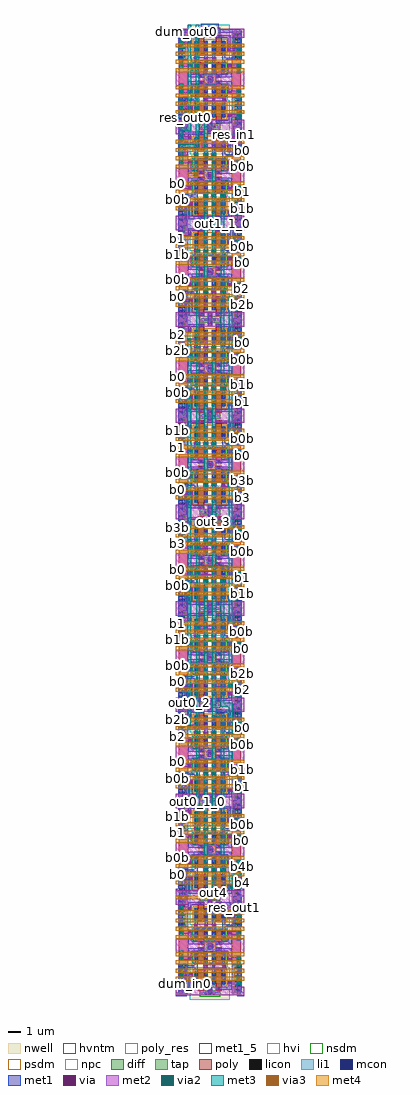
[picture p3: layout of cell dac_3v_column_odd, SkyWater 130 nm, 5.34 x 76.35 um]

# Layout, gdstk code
from math import pi, radians
import gdstk
lib = gdstk.Library(unit=1e-6, precision=1e-09)
def R(c, l, rs):  # rectangles x0, y0, x1, y1
    for r in rs: c.add(gdstk.rectangle(r[:2], r[2:], *l))
def A(c, l, x, y, w, h, nx, ny, dx, dy):  # array of equal rectangles
    R(c, l, [(x+i*dx, y+j*dy, x+i*dx+w, y+j*dy+h) for i in range(nx) for j in range(ny)])
nwell = (64, 20)
diff = (65, 20)
tap = (65, 44)
poly_res = (66, 13)
poly = (66, 20)
licon = (66, 44)
li1 = (67, 20)
mcon = (67, 44)
met1_5 = (68, 5)
met1 = (68, 20)
via = (68, 44)
met2 = (69, 20)
via2 = (69, 44)
met3 = (70, 20)
via3 = (70, 44)
met4 = (71, 20)
hvi = (75, 20)
nsdm = (93, 44)
psdm = (94, 20)
npc = (95, 20)
hvntm = (125, 20)

m3m4contact = lib.new_cell('m3m4contact')
R(m3m4contact, met3, [(-0.845,37.29,-0.525,37.67), (-0.835,37.67,-0.535,38.065)])
R(m3m4contact, via3, [(-0.785,37.38,-0.585,37.58)])
R(m3m4contact, met4, [(-0.85,37.315,-0.52,37.33), (-1.29,37.33,-0.52,37.63), (-0.85,37.63,-0.52,37.645)])

sky130_fd_pr__pfet_g5v0d = lib.new_cell('sky130_fd_pr__pfet_g5v0d10v5_9992MR')
R(sky130_fd_pr__pfet_g5v0d, nwell, [(-0.72,-0.99,0.72,0.82)])
R(sky130_fd_pr__pfet_g5v0d, diff, [(-0.54,-0.68,0.54,0.32)])
R(sky130_fd_pr__pfet_g5v0d, poly, [(-0.25,-0.81,0.25,0.805)])
A(sky130_fd_pr__pfet_g5v0d, licon, -0.48, -0.605, 0.17, 0.17, 1, 3, 0, 0.34)
A(sky130_fd_pr__pfet_g5v0d, licon, 0.31, -0.605, 0.17, 0.17, 1, 3, 0, 0.34)
R(sky130_fd_pr__pfet_g5v0d, licon, [(-0.085,0.555,0.085,0.725)])
R(sky130_fd_pr__pfet_g5v0d, li1, [(-0.48,-0.7,-0.31,0.34), (0.31,-0.7,0.48,0.34), (-0.25,0.555,0.25,0.725)])
R(sky130_fd_pr__pfet_g5v0d, mcon, [(-0.48,-0.445,-0.31,-0.275), (0.31,-0.445,0.48,-0.275), (-0.48,-0.085,-0.31,0.085), (0.31,-0.085,0.48,0.085), (-0.085,0.555,0.085,0.725)])
R(sky130_fd_pr__pfet_g5v0d, met1, [(-0.51,-0.68,-0.28,0.32), (0.28,-0.68,0.51,0.32), (-0.23,0.525,0.23,0.755)])
R(sky130_fd_pr__pfet_g5v0d, hvi, [(-0.72,-0.99,0.72,-0.865), (-0.725,-0.865,0.725,0.505), (-0.72,0.505,0.72,0.82)])
R(sky130_fd_pr__pfet_g5v0d, psdm, [(-0.665,-0.805,0.665,0.445)])
R(sky130_fd_pr__pfet_g5v0d, npc, [(-0.185,0.455,0.185,0.825)])

sky130_fd_pr__nfet_g5v0d = lib.new_cell('sky130_fd_pr__nfet_g5v0d10v5_NHLDUY')
R(sky130_fd_pr__nfet_g5v0d, diff, [(-0.54,-0.17,0.54,0.48)])
R(sky130_fd_pr__nfet_g5v0d, poly, [(-0.25,-0.61,0.25,0.61)])
R(sky130_fd_pr__nfet_g5v0d, licon, [(-0.085,-0.53,0.085,-0.36), (-0.48,-0.1,-0.31,0.07), (0.31,-0.1,0.48,0.07), (-0.48,0.24,-0.31,0.41), (0.31,0.24,0.48,0.41)])
R(sky130_fd_pr__nfet_g5v0d, li1, [(-0.25,-0.53,0.25,-0.36), (-0.48,-0.19,-0.31,0.5), (0.31,-0.19,0.48,0.5)])
R(sky130_fd_pr__nfet_g5v0d, mcon, [(-0.085,-0.53,0.085,-0.36), (-0.48,-0.11,-0.31,0.06), (0.31,-0.11,0.48,0.06), (-0.48,0.25,-0.31,0.42), (0.31,0.25,0.48,0.42)])
R(sky130_fd_pr__nfet_g5v0d, met1, [(-0.23,-0.56,0.23,-0.33), (-0.51,-0.17,-0.28,0.48), (0.28,-0.17,0.51,0.48)])
R(sky130_fd_pr__nfet_g5v0d, hvi, [(-0.725,-0.355,0.725,0.665)])
R(sky130_fd_pr__nfet_g5v0d, nsdm, [(-0.665,-0.295,0.665,0.605)])
R(sky130_fd_pr__nfet_g5v0d, npc, [(-0.185,-0.63,0.185,-0.26)])
R(sky130_fd_pr__nfet_g5v0d, hvntm, [(-0.725,-0.355,0.725,0.665)])

poly_res_200ohm = lib.new_cell('poly_res_200ohm')
R(poly_res_200ohm, poly_res, [(-2.07,1.91,-1.36,4.87)])
R(poly_res_200ohm, poly, [(-2.07,-0.38,-1.36,7.155)])
A(poly_res_200ohm, licon, -1.8, -0.135, 0.17, 0.17, 1, 6, 0, 0.34)
A(poly_res_200ohm, licon, -1.8, 5.045, 0.17, 0.17, 1, 6, 0, 0.34)
R(poly_res_200ohm, li1, [(-2.07,-0.38,-1.36,1.91), (-2.07,4.87,-1.36,7.155)])
A(poly_res_200ohm, mcon, -2.035, -0.185, 0.17, 0.17, 1, 6, 0, 0.36)
A(poly_res_200ohm, mcon, -2.035, 4.995, 0.17, 0.17, 1, 6, 0, 0.36)
R(poly_res_200ohm, met1, [(-2.125,-0.38,-1.77,1.91), (-2.125,4.87,-1.77,7.155)])
R(poly_res_200ohm, npc, [(-1.9,-0.235,-1.53,1.835), (-1.9,4.945,-1.53,7.015)])

dac_3v_cell_odd = lib.new_cell('dac_3v_cell_odd')
R(dac_3v_cell_odd, nwell, [(1.59,-1.375,4.71,1.14), (1.58,4.46,4.71,5.3), (1.59,5.3,4.71,7.05)])
R(dac_3v_cell_odd, tap, [(2.48,-1.045,3.835,-0.815), (2.865,2.625,3.435,2.975), (2.48,6.49,3.835,6.72)])
A(dac_3v_cell_odd, licon, 2.73, -1.015, 0.17, 0.17, 3, 2, 0.34, 7.535)
R(dac_3v_cell_odd, licon, [(3.07,2.715,3.24,2.885)])
R(dac_3v_cell_odd, li1, [(2.48,-1.045,3.835,-0.815), (3.065,-0.815,3.26,-0.425), (2.995,2.57,3.32,3.03), (3.065,6.11,3.26,6.49), (2.48,6.49,3.835,6.72)])
R(dac_3v_cell_odd, mcon, [(3.075,-0.715,3.245,-0.545), (3.07,2.715,3.24,2.885), (3.075,6.22,3.245,6.39)])
R(dac_3v_cell_odd, met1, [(0.775,-1.115,1.34,-0.84), (3,-0.925,3.325,-0.36), (1.17,-0.84,1.34,1.12), (1.5,-0.625,2.23,-0.395), (4.07,-0.625,4.85,-0.395), (1.5,-0.395,1.76,0.74), (4.59,-0.395,4.85,0.11), (1.95,0.81,2.18,1.12), (2.74,0.81,2.97,1.06), (3.33,0.81,3.56,1.06), (4.12,0.81,4.35,1.06), (2.725,1.06,2.985,1.38), (3.315,1.06,3.575,1.38), (4.105,1.06,4.365,1.38), (1.17,1.12,2.18,1.29), (1.95,1.29,2.18,1.605), (2.74,1.38,2.97,1.605), (3.33,1.38,3.56,1.605), (4.12,1.38,4.35,1.605), (4.59,1.625,4.85,2.415), (1.45,1.72,1.71,2.415), (1.45,2.415,2.23,2.645), (4.07,2.415,4.85,2.645), (3.02,2.53,3.295,2.59), (2.965,2.59,3.355,3.01), (1.45,2.955,2.23,3.185), (4.07,2.955,4.85,3.185), (3.02,3.01,3.295,3.075), (1.45,3.185,1.71,4.065), (4.59,3.185,4.85,3.975), (1.95,3.995,2.18,4.235), (2.74,3.995,2.97,4.235), (3.33,3.995,3.56,4.235), (4.12,3.995,4.35,4.31), (1.935,4.235,2.195,4.555), (2.725,4.235,2.985,4.555), (3.315,4.235,3.575,4.555), (4.12,4.31,5.13,4.48), (4.12,4.48,4.35,4.79), (4.96,4.48,5.13,6.42), (1.95,4.555,2.18,4.79), (2.74,4.555,2.97,4.79), (3.33,4.555,3.56,4.79), (4.54,4.92,4.8,5.995), (1.45,5.57,1.71,5.995), (1.45,5.995,2.23,6.225), (4.07,5.995,4.8,6.225), (3,6.045,3.325,6.61), (4.96,6.42,5.525,6.695)])
R(dac_3v_cell_odd, via, [(3.085,-0.7,3.235,-0.55), (4.645,-0.125,4.795,0.025), (1.555,0.505,1.705,0.655), (2.78,1.145,2.93,1.295), (3.37,1.145,3.52,1.295), (4.16,1.145,4.31,1.295), (4.645,1.71,4.795,1.86), (1.505,1.805,1.655,1.955), (3.08,2.725,3.23,2.875), (4.645,3.74,4.795,3.89), (1.505,3.83,1.655,3.98), (1.99,4.32,2.14,4.47), (2.78,4.32,2.93,4.47), (3.37,4.32,3.52,4.47), (4.595,5.025,4.745,5.175), (1.505,5.675,1.655,5.825), (3.085,6.23,3.235,6.38)])
R(dac_3v_cell_odd, met2, [(0.495,-1.05,5.83,-0.36), (4.535,-0.195,4.955,0.085), (5.22,-0.19,5.59,0.09), (5.28,0.09,5.525,0.775), (0.715,0.44,1.085,0.45), (0.715,0.45,1.79,0.71), (0.715,0.71,1.085,0.72), (4.605,0.775,5.525,1.02), (4.605,1.02,4.85,1.655), (2.645,1.08,3.04,1.36), (4.05,1.08,4.415,1.36), (3.26,1.085,3.655,1.365), (5.215,1.645,5.585,1.655), (4.56,1.655,4.925,1.915), (5.17,1.655,5.585,1.915), (0.715,1.74,1.085,1.75), (0.715,1.75,1.74,2.01), (5.215,1.915,5.585,1.925), (0.715,2.01,1.085,2.02), (0.495,2.265,5.83,3.39), (5.215,3.675,5.585,3.685), (4.56,3.685,5.585,3.945), (0.715,3.765,1.085,3.775), (0.715,3.775,1.74,4.035), (5.215,3.945,5.585,3.955), (0.715,4.035,1.085,4.045), (1.88,4.255,2.25,4.535), (2.645,4.255,3.04,4.535), (3.26,4.255,3.645,4.535), (5.215,4.96,5.585,4.97), (4.51,4.97,5.585,5.23), (5.215,5.23,5.585,5.24), (0.72,5.61,1.09,5.62), (0.72,5.62,1.74,5.88), (0.72,5.88,1.09,5.89), (0.495,6.05,5.83,6.735)])
R(dac_3v_cell_odd, via2, [(4.67,-0.155,4.87,0.045), (5.305,-0.15,5.505,0.05), (0.8,0.48,1,0.68), (5.3,1.685,5.5,1.885), (0.8,1.78,1,1.98), (5.3,3.715,5.5,3.915), (0.8,3.805,1,4.005), (5.3,5,5.5,5.2), (0.805,5.65,1.005,5.85)])
R(dac_3v_cell_odd, met3, [(4.605,-0.245,4.935,0.125), (5.24,-0.24,5.57,0.51), (4.615,0.125,4.925,0.825), (0.735,0.39,1.065,1.14), (4.615,0.825,5.565,1.135), (5.235,1.135,5.565,1.965), (0.735,1.69,1.065,2.44), (5.235,3.255,5.565,4.005), (0.735,3.655,1.065,4.41), (5.235,4.54,5.565,5.29), (0.74,5.19,1.07,5.94)])
R(dac_3v_cell_odd, via3, [(5.305,0.15,5.505,0.35), (0.8,0.78,1,0.98), (5.3,1.43,5.5,1.63), (0.8,2.075,1,2.275), (5.3,3.41,5.5,3.61), (0.8,4.055,1,4.255), (5.3,4.7,5.5,4.9), (0.805,5.345,1.005,5.545)])
A(dac_3v_cell_odd, met4, 0.495, 0.09, 5.335, 0.3, 1, 4, 0, 0.645)
A(dac_3v_cell_odd, met4, 0.495, 3.36, 5.335, 0.3, 1, 4, 0, 0.645)
R(dac_3v_cell_odd, met4, [(5.24,0.085,5.57,0.09), (5.24,0.39,5.57,0.415), (0.735,0.715,1.065,0.735), (0.735,1.035,1.065,1.045), (5.235,1.365,5.565,1.38), (5.235,1.68,5.565,1.695), (0.735,2.01,1.065,2.025), (0.735,2.325,1.065,2.34), (5.235,3.345,5.565,3.36), (5.235,3.66,5.565,3.675), (0.735,3.99,1.065,4.005), (0.735,4.305,1.065,4.32), (5.235,4.635,5.565,4.65), (5.235,4.95,5.565,4.965), (0.74,5.28,1.07,5.295), (0.74,5.595,1.07,5.61)])
R(dac_3v_cell_odd, hvi, [(1.59,-1.375,4.71,1.14), (1.735,1.14,4.565,1.42), (2.68,2.38,3.62,3.22), (1.735,4.18,4.565,4.46), (1.165,4.46,4.71,5.3), (1.59,5.3,4.71,7.05)])
R(dac_3v_cell_odd, nsdm, [(2.355,-1.17,3.96,-0.69), (3.125,1.48,3.175,2.38), (3.125,3.22,3.175,4.12), (2.355,6.365,3.96,6.845)])
R(dac_3v_cell_odd, psdm, [(3.125,-0.315,3.175,0.935), (2.74,2.5,3.56,3.1), (3.125,4.665,3.175,5.915)])
R(dac_3v_cell_odd, npc, [(2.275,2.715,2.645,2.885), (3.655,2.715,4.025,2.885)])
dac_3v_cell_odd.add(gdstk.Reference(sky130_fd_pr__pfet_g5v0d, (2.46,0.13), x_reflection=True))
dac_3v_cell_odd.add(gdstk.Reference(sky130_fd_pr__pfet_g5v0d, (3.84,0.13), x_reflection=True))
dac_3v_cell_odd.add(gdstk.Reference(sky130_fd_pr__pfet_g5v0d, (3.84,5.47)))
dac_3v_cell_odd.add(gdstk.Reference(sky130_fd_pr__pfet_g5v0d, (2.46,5.47)))
dac_3v_cell_odd.add(gdstk.Reference(sky130_fd_pr__nfet_g5v0d, (3.84,2.085), x_reflection=True))
dac_3v_cell_odd.add(gdstk.Reference(sky130_fd_pr__nfet_g5v0d, (2.46,2.085), x_reflection=True))
dac_3v_cell_odd.add(gdstk.Reference(sky130_fd_pr__nfet_g5v0d, (3.84,3.515)))
dac_3v_cell_odd.add(gdstk.Reference(sky130_fd_pr__nfet_g5v0d, (2.46,3.515)))
dac_3v_cell_odd.add(gdstk.Reference(poly_res_200ohm, (2.8,-0.555)))
dac_3v_cell_odd.add(gdstk.Reference(poly_res_200ohm, (3.505,-0.56), rotation=pi, x_reflection=True))

dac_3v_cell = lib.new_cell('dac_3v_cell')
R(dac_3v_cell, nwell, [(1.59,-1.375,4.71,1.14), (1.58,4.46,4.71,7.05)])
R(dac_3v_cell, tap, [(2.48,-1.045,3.835,-0.815), (2.865,2.625,3.435,2.975), (2.48,6.49,3.835,6.72)])
A(dac_3v_cell, licon, 2.73, -1.015, 0.17, 0.17, 3, 2, 0.34, 7.535)
R(dac_3v_cell, licon, [(3.07,2.715,3.24,2.885)])
R(dac_3v_cell, li1, [(2.48,-1.045,3.835,-0.815), (3.065,-0.815,3.26,-0.425), (2.995,2.57,3.32,3.03), (3.065,6.11,3.26,6.49), (2.48,6.49,3.835,6.72)])
R(dac_3v_cell, mcon, [(3.075,-0.715,3.245,-0.545), (3.07,2.715,3.24,2.885), (3.075,6.22,3.245,6.39)])
R(dac_3v_cell, met1, [(0.775,-1.115,1.34,-0.84), (3,-0.925,3.325,-0.36), (1.17,-0.84,1.34,1.12), (1.5,-0.625,2.23,-0.395), (4.07,-0.625,4.85,-0.395), (1.5,-0.395,1.76,0.74), (4.59,-0.395,4.85,0.11), (1.95,0.81,2.18,1.12), (2.74,0.81,2.97,1.06), (3.33,0.81,3.56,1.06), (4.12,0.81,4.35,1.06), (2.725,1.06,2.985,1.38), (3.315,1.06,3.575,1.38), (4.105,1.06,4.365,1.38), (1.17,1.12,2.18,1.29), (1.95,1.29,2.18,1.605), (2.74,1.38,2.97,1.605), (3.33,1.38,3.56,1.605), (4.12,1.38,4.35,1.605), (4.59,1.625,4.85,2.415), (1.45,1.72,1.71,2.415), (1.45,2.415,2.23,2.645), (4.07,2.415,4.85,2.645), (3.02,2.53,3.295,2.59), (2.965,2.59,3.355,3.01), (1.45,2.955,2.23,3.185), (4.07,2.955,4.85,3.185), (3.02,3.01,3.295,3.075), (1.45,3.185,1.71,4.065), (4.59,3.185,4.85,3.975), (1.95,3.995,2.18,4.235), (2.74,3.995,2.97,4.235), (3.33,3.995,3.56,4.235), (4.12,3.995,4.35,4.31), (1.935,4.235,2.195,4.555), (2.725,4.235,2.985,4.555), (3.315,4.235,3.575,4.555), (4.12,4.31,5.13,4.48), (4.12,4.48,4.35,4.79), (4.96,4.48,5.13,6.42), (1.95,4.555,2.18,4.79), (2.74,4.555,2.97,4.79), (3.33,4.555,3.56,4.79), (4.54,4.92,4.8,5.995), (1.45,5.57,1.71,5.995), (1.45,5.995,2.23,6.225), (4.07,5.995,4.8,6.225), (3,6.045,3.325,6.61), (4.96,6.42,5.525,6.695)])
R(dac_3v_cell, via, [(3.085,-0.7,3.235,-0.55), (4.645,-0.125,4.795,0.025), (1.555,0.505,1.705,0.655), (2.78,1.145,2.93,1.295), (3.37,1.145,3.52,1.295), (4.16,1.145,4.31,1.295), (4.645,1.71,4.795,1.86), (1.505,1.805,1.655,1.955), (3.08,2.725,3.23,2.875), (4.645,3.74,4.795,3.89), (1.505,3.83,1.655,3.98), (1.99,4.32,2.14,4.47), (2.78,4.32,2.93,4.47), (3.37,4.32,3.52,4.47), (4.595,5.025,4.745,5.175), (1.505,5.675,1.655,5.825), (3.085,6.23,3.235,6.38)])
R(dac_3v_cell, met2, [(0.495,-1.05,5.83,-0.36), (5.22,-0.19,5.59,-0.18), (4.56,-0.18,5.59,0.08), (5.22,0.08,5.59,0.09), (0.715,0.44,1.085,0.45), (0.715,0.45,1.79,0.71), (0.715,0.71,1.085,0.72), (2.645,1.08,3.04,1.36), (4.05,1.08,4.415,1.36), (3.26,1.085,3.655,1.365), (5.215,1.645,5.585,1.655), (4.56,1.655,5.585,1.915), (0.715,1.74,1.085,1.75), (0.715,1.75,1.74,2.01), (5.215,1.915,5.585,1.925), (0.715,2.01,1.085,2.02), (0.495,2.265,5.83,3.39), (5.215,3.675,5.585,3.685), (4.56,3.685,5.585,3.945), (0.715,3.765,1.085,3.775), (0.715,3.775,1.74,4.035), (5.215,3.945,5.585,3.955), (0.715,4.035,1.085,4.045), (1.88,4.255,2.25,4.535), (2.645,4.255,3.04,4.535), (3.26,4.255,3.645,4.535), (5.215,4.96,5.585,4.97), (4.51,4.97,5.585,5.23), (5.215,5.23,5.585,5.24), (0.72,5.61,1.09,5.62), (0.72,5.62,1.74,5.88), (0.72,5.88,1.09,5.89), (0.495,6.05,5.83,6.735)])
R(dac_3v_cell, via2, [(5.305,-0.15,5.505,0.05), (0.8,0.48,1,0.68), (5.3,1.685,5.5,1.885), (0.8,1.78,1,1.98), (5.3,3.715,5.5,3.915), (0.8,3.805,1,4.005), (5.3,5,5.5,5.2), (0.805,5.65,1.005,5.85)])
R(dac_3v_cell, met3, [(5.24,-0.24,5.57,0.51), (0.735,0.39,1.065,1.14), (5.235,1.205,5.565,1.965), (0.735,1.69,1.065,2.44), (5.235,3.255,5.565,4.005), (0.735,3.655,1.065,4.41), (5.235,4.54,5.565,5.29), (0.74,5.19,1.07,5.94)])
R(dac_3v_cell, via3, [(5.305,0.15,5.505,0.35), (0.8,0.78,1,0.98), (5.3,1.43,5.5,1.63), (0.8,2.075,1,2.275), (5.3,3.41,5.5,3.61), (0.8,4.055,1,4.255), (5.3,4.7,5.5,4.9), (0.805,5.345,1.005,5.545)])
A(dac_3v_cell, met4, 0.495, 0.09, 5.335, 0.3, 1, 4, 0, 0.645)
A(dac_3v_cell, met4, 0.495, 3.36, 5.335, 0.3, 1, 4, 0, 0.645)
R(dac_3v_cell, met4, [(5.24,0.085,5.57,0.09), (5.24,0.39,5.57,0.415), (0.735,0.715,1.065,0.735), (0.735,1.035,1.065,1.045), (5.235,1.365,5.565,1.38), (5.235,1.68,5.565,1.695), (0.735,2.01,1.065,2.025), (0.735,2.325,1.065,2.34), (5.235,3.345,5.565,3.36), (5.235,3.66,5.565,3.675), (0.735,3.99,1.065,4.005), (0.735,4.305,1.065,4.32), (5.235,4.635,5.565,4.65), (5.235,4.95,5.565,4.965), (0.74,5.28,1.07,5.295), (0.74,5.595,1.07,5.61)])
R(dac_3v_cell, hvi, [(1.59,-1.375,4.71,1.14), (1.735,1.14,4.565,1.42), (2.68,2.38,3.62,3.22), (1.735,4.18,4.565,4.46), (1.58,4.46,4.71,7.05)])
R(dac_3v_cell, nsdm, [(2.355,-1.17,3.96,-0.69), (3.125,1.48,3.175,2.38), (3.125,3.22,3.175,4.12), (2.355,6.365,3.96,6.845)])
R(dac_3v_cell, psdm, [(3.125,-0.315,3.175,0.935), (2.74,2.5,3.56,3.1), (3.125,4.665,3.175,5.915)])
R(dac_3v_cell, npc, [(2.275,2.715,2.645,2.885), (3.655,2.715,4.025,2.885)])
dac_3v_cell.add(gdstk.Reference(poly_res_200ohm, (2.8,-0.555)))
dac_3v_cell.add(gdstk.Reference(sky130_fd_pr__nfet_g5v0d, (2.46,3.515)))
dac_3v_cell.add(gdstk.Reference(sky130_fd_pr__nfet_g5v0d, (2.46,2.085), x_reflection=True))
dac_3v_cell.add(gdstk.Reference(sky130_fd_pr__pfet_g5v0d, (2.46,5.47)))
dac_3v_cell.add(gdstk.Reference(sky130_fd_pr__pfet_g5v0d, (2.46,0.13), x_reflection=True))
dac_3v_cell.add(gdstk.Reference(sky130_fd_pr__nfet_g5v0d, (3.84,3.515)))
dac_3v_cell.add(gdstk.Reference(sky130_fd_pr__nfet_g5v0d, (3.84,2.085), x_reflection=True))
dac_3v_cell.add(gdstk.Reference(sky130_fd_pr__pfet_g5v0d, (3.84,5.47)))
dac_3v_cell.add(gdstk.Reference(sky130_fd_pr__pfet_g5v0d, (3.84,0.13), x_reflection=True))
dac_3v_cell.add(gdstk.Reference(poly_res_200ohm, (3.505,-0.56), rotation=pi, x_reflection=True))

m2m3contact = lib.new_cell('m2m3contact')
R(m2m3contact, met2, [(1.38,4.255,1.75,4.535)])
R(m2m3contact, via2, [(1.465,4.295,1.665,4.495)])
R(m2m3contact, met3, [(1.4,4.22,1.73,4.57), (1.415,4.57,1.715,4.985)])

dac_3v_cell_top = lib.new_cell('dac_3v_cell_top')
R(dac_3v_cell_top, nwell, [(1.59,-1.375,4.71,1.14), (1.59,4.46,4.71,6.16), (1.64,6.16,4.63,7.05)])
R(dac_3v_cell_top, tap, [(2.48,-1.045,3.835,-0.815), (2.865,2.625,3.435,2.975), (2.48,6.49,3.835,6.72)])
A(dac_3v_cell_top, licon, 2.73, -1.015, 0.17, 0.17, 3, 2, 0.34, 7.535)
R(dac_3v_cell_top, licon, [(3.07,2.715,3.24,2.885)])
R(dac_3v_cell_top, li1, [(2.48,-1.045,3.835,-0.815), (3.065,-0.815,3.26,-0.425), (2.995,2.57,3.32,3.03), (3.065,6.11,3.26,6.49), (2.48,6.49,3.835,6.72)])
R(dac_3v_cell_top, mcon, [(3.075,-0.715,3.245,-0.545), (3.07,2.715,3.24,2.885), (3.075,6.22,3.245,6.39)])
R(dac_3v_cell_top, met1, [(0.775,-1.115,1.34,-0.84), (3,-0.925,3.325,-0.36), (1.17,-0.84,1.34,1.12), (1.5,-0.625,2.23,-0.395), (4.07,-0.625,4.85,-0.395), (1.5,-0.395,1.76,0.74), (4.59,-0.395,4.85,0.11), (1.95,0.81,2.18,1.12), (2.74,0.81,2.97,1.06), (3.33,0.81,3.56,1.06), (4.12,0.81,4.35,1.06), (2.725,1.06,2.985,1.38), (3.315,1.06,3.575,1.38), (4.105,1.06,4.365,1.38), (1.17,1.12,2.18,1.29), (1.95,1.29,2.18,1.605), (2.74,1.38,2.97,1.605), (3.33,1.38,3.56,1.605), (4.12,1.38,4.35,1.605), (4.59,1.625,4.85,2.415), (1.45,1.72,1.71,2.415), (1.45,2.415,2.23,2.645), (4.07,2.415,4.85,2.645), (3.02,2.53,3.295,2.59), (2.965,2.59,3.355,3.01), (1.45,2.955,2.23,3.185), (4.07,2.955,4.85,3.185), (3.02,3.01,3.295,3.075), (1.45,3.185,1.71,4.065), (4.59,3.185,4.85,3.975), (1.95,3.995,2.18,4.235), (2.74,3.995,2.97,4.235), (3.33,3.995,3.56,4.235), (4.12,3.995,4.35,4.31), (1.935,4.235,2.195,4.555), (2.725,4.235,2.985,4.555), (3.315,4.235,3.575,4.555), (4.12,4.31,5.13,4.48), (0.77,4.385,1.03,5.175), (4.12,4.48,4.35,4.79), (4.96,4.48,5.13,6.42), (1.95,4.555,2.18,4.79), (2.74,4.555,2.97,4.79), (3.33,4.555,3.56,4.79), (4.54,4.62,4.8,5.995), (5.27,5.12,5.53,5.91), (1.45,5.57,1.71,5.995), (1.45,5.995,2.23,6.225), (4.07,5.995,4.8,6.225), (3,6.045,3.325,6.61), (4.96,6.42,5.525,6.695)])
R(dac_3v_cell_top, via, [(3.085,-0.7,3.235,-0.55), (4.645,-0.125,4.795,0.025), (1.555,0.505,1.705,0.655), (2.78,1.145,2.93,1.295), (3.37,1.145,3.52,1.295), (4.16,1.145,4.31,1.295), (4.645,1.71,4.795,1.86), (1.505,1.805,1.655,1.955), (3.08,2.725,3.23,2.875), (4.645,3.74,4.795,3.89), (1.505,3.83,1.655,3.98), (1.99,4.32,2.14,4.47), (2.78,4.32,2.93,4.47), (3.37,4.32,3.52,4.47), (0.825,4.545,0.975,4.695), (4.595,4.725,4.745,4.875), (0.825,4.865,0.975,5.015), (5.325,5.28,5.475,5.43), (5.325,5.6,5.475,5.75), (1.505,5.675,1.655,5.825), (3.085,6.23,3.235,6.38)])
R(dac_3v_cell_top, met2, [(0.495,-1.05,5.83,-0.36), (5.22,-0.19,5.59,-0.18), (4.56,-0.18,5.59,0.08), (5.22,0.08,5.59,0.09), (0.715,0.44,1.085,0.45), (0.715,0.45,1.79,0.71), (0.715,0.71,1.085,0.72), (2.645,1.08,3.04,1.36), (4.05,1.08,4.415,1.36), (3.26,1.085,3.655,1.365), (5.215,1.645,5.585,1.655), (4.56,1.655,5.585,1.915), (0.715,1.74,1.085,1.75), (0.715,1.75,1.74,2.01), (5.215,1.915,5.585,1.925), (0.715,2.01,1.085,2.02), (0.495,2.265,5.83,3.39), (5.215,3.675,5.585,3.685), (4.56,3.685,5.585,3.945), (0.715,3.765,1.085,3.775), (0.715,3.775,1.74,4.035), (5.215,3.945,5.585,3.955), (0.715,4.035,1.085,4.045), (1.88,4.255,2.25,4.535), (2.645,4.255,3.04,4.535), (3.26,4.255,3.645,4.535), (0.77,4.385,1.41,4.86), (5.215,4.66,5.585,4.67), (4.51,4.67,5.585,4.93), (0.77,4.86,2.475,4.98), (5.215,4.93,5.585,4.94), (0.77,4.98,4.275,5.12), (0.77,5.12,5.53,5.44), (2.025,5.44,5.53,5.58), (3.825,5.58,5.53,5.7), (0.72,5.61,1.09,5.62), (0.72,5.62,1.74,5.88), (4.89,5.7,5.53,5.91), (0.72,5.88,1.09,5.89), (0.495,6.05,5.83,6.735)])
R(dac_3v_cell_top, via2, [(5.305,-0.15,5.505,0.05), (0.8,0.48,1,0.68), (5.3,1.685,5.5,1.885), (0.8,1.78,1,1.98), (5.3,3.715,5.5,3.915), (0.8,3.805,1,4.005), (5.3,4.7,5.5,4.9), (0.805,5.65,1.005,5.85)])
R(dac_3v_cell_top, met3, [(5.24,-0.24,5.57,0.51), (0.735,0.39,1.065,1.14), (5.235,1.205,5.565,1.965), (0.735,1.69,1.065,2.44), (5.235,3.255,5.565,4.005), (0.735,3.705,1.065,4.44), (5.235,4.305,5.565,5.04), (0.74,5.565,1.07,6.37)])
R(dac_3v_cell_top, via3, [(5.305,0.15,5.505,0.35), (0.8,0.78,1,0.98), (5.3,1.43,5.5,1.63), (0.8,2.075,1,2.275), (5.3,3.41,5.5,3.61), (5.3,4.7,5.5,4.9)])
A(dac_3v_cell_top, met4, 0.495, 0.09, 5.335, 0.3, 1, 4, 0, 0.645)
R(dac_3v_cell_top, met4, [(5.24,0.085,5.57,0.09), (5.24,0.39,5.57,0.415), (0.735,0.715,1.065,0.735), (0.735,1.035,1.065,1.045), (5.235,1.365,5.565,1.38), (5.235,1.68,5.565,1.695), (0.735,2.01,1.065,2.025), (0.735,2.325,1.065,2.34), (5.235,3.345,5.565,3.36), (0.495,3.36,5.83,3.66), (5.235,3.66,5.565,3.675), (0.485,4.005,5.83,4.305), (5.235,4.635,5.565,4.65), (0.495,4.65,5.83,4.95), (5.235,4.95,5.565,4.965), (0.485,5.295,5.83,5.595)])
R(dac_3v_cell_top, hvi, [(1.59,-1.375,4.71,1.14), (1.735,1.14,4.565,1.42), (2.68,2.38,3.62,3.22), (1.735,4.18,4.565,4.46), (1.59,4.46,4.71,6.16), (1.64,6.16,4.63,7.05)])
R(dac_3v_cell_top, nsdm, [(2.355,-1.17,3.96,-0.69), (3.125,1.48,3.175,2.38), (3.125,3.22,3.175,4.12), (2.355,6.365,3.96,6.845)])
R(dac_3v_cell_top, psdm, [(3.125,-0.315,3.175,0.935), (2.74,2.5,3.56,3.1), (3.125,4.665,3.175,5.915)])
R(dac_3v_cell_top, npc, [(2.275,2.715,2.645,2.885), (3.655,2.715,4.025,2.885)])
dac_3v_cell_top.add(gdstk.Reference(sky130_fd_pr__pfet_g5v0d, (2.46,0.13), x_reflection=True))
dac_3v_cell_top.add(gdstk.Reference(sky130_fd_pr__pfet_g5v0d, (3.84,0.13), x_reflection=True))
dac_3v_cell_top.add(gdstk.Reference(sky130_fd_pr__pfet_g5v0d, (3.84,5.47)))
dac_3v_cell_top.add(gdstk.Reference(sky130_fd_pr__pfet_g5v0d, (2.46,5.47)))
dac_3v_cell_top.add(gdstk.Reference(sky130_fd_pr__nfet_g5v0d, (3.84,2.085), x_reflection=True))
dac_3v_cell_top.add(gdstk.Reference(sky130_fd_pr__nfet_g5v0d, (2.46,2.085), x_reflection=True))
dac_3v_cell_top.add(gdstk.Reference(sky130_fd_pr__nfet_g5v0d, (3.84,3.515)))
dac_3v_cell_top.add(gdstk.Reference(sky130_fd_pr__nfet_g5v0d, (2.46,3.515)))
dac_3v_cell_top.add(gdstk.Reference(poly_res_200ohm, (2.8,-0.555)))
dac_3v_cell_top.add(gdstk.Reference(poly_res_200ohm, (3.505,-0.56), rotation=pi, x_reflection=True))

dac_3v_column_odd = lib.new_cell('dac_3v_column_odd')
R(dac_3v_column_odd, met1_5, [(0.585,1.04,0.755,1.32), (4.375,6.995,4.545,7.335), (0.585,68.86,0.755,69.14)])
R(dac_3v_column_odd, met1, [(-0.09,0.225,0.19,0.5), (4.69,0.225,5.245,0.5), (0.585,1.04,0.755,1.32), (4.375,6.995,4.545,7.335), (-0.09,8.035,0.19,8.62), (4.94,8.04,5.235,8.625), (0.585,8.565,0.755,8.885), (4.375,67.415,4.545,67.81), (0.585,68.86,0.755,69.14), (0.19,75.575,2.095,75.815), (3.025,75.61,4.425,75.85), (1.855,75.815,2.095,76.075), (3.025,75.85,3.265,76.075), (1.855,76.075,3.265,76.315)])
R(dac_3v_column_odd, met2, [(0.915,0.98,1.175,1.79), (4.005,0.98,4.265,1.16), (2.285,2.425,3.47,2.705), (4.005,3.255,4.265,3.605), (0.865,3.35,1.125,3.605), (0.865,4.73,1.125,5.115), (4.005,4.73,4.265,5.025), (1.645,5.595,2.835,5.875), (3.955,6.57,4.215,7.39), (0.865,7.22,1.125,7.39), (3.83,17.49,4,17.77), (2.14,20.945,2.4,21.165), (1.145,21.165,2.4,21.445), (2.73,24.44,4.03,24.72), (2.73,24.72,2.99,25.03), (2.72,28.465,3,28.91), (1.82,28.91,3,29.19), (2.72,32.825,3,33.2), (1.82,33.2,3,33.48), (1.82,35.23,3,35.51), (2.72,35.51,3,35.8), (1.145,35.735,1.295,36.015), (3.78,40.095,4.03,40.375), (2.14,51.085,2.4,51.385), (1.145,51.385,2.4,51.665), (2.73,54.66,4.03,54.94), (2.73,54.94,2.99,55.17), (0.915,68.795,1.175,69.605), (4.005,68.795,4.265,68.975), (2.29,70.24,3.48,70.52), (4.005,71.07,4.265,71.42), (0.865,71.165,1.15,71.42), (0.865,72.545,1.125,72.93), (4.005,72.545,4.265,72.84), (1.655,73.41,2.91,73.69), (3.955,74.385,4.215,75.205), (0.865,75.035,1.125,75.205)])
A(dac_3v_column_odd, met3, 2.11, 25.305, 0.3, 7.255, 1, 3, 0, 15.07)
R(dac_3v_column_odd, met3, [(2.75,8.115,3.05,9.55), (2.11,10.615,2.41,17.335), (3.4,10.65,3.7,22.045), (1.48,13.41,1.78,28.2), (2.74,13.41,3.04,20.665), (4.035,17.77,4.335,22.88), (0.81,21.895,1.11,51.56), (2.765,22.045,3.7,22.345), (2.765,22.345,3.065,35.7), (3.395,22.88,4.335,23.18), (3.395,23.18,3.695,32.56), (4.025,24.545,4.325,54.66), (1.485,28.93,1.785,36.185), (2.425,35.7,3.065,36.05), (2.765,36.05,3.065,39.655), (1.48,43.55,1.78,58.34), (2.74,43.55,3.04,50.805), (3.395,48.13,3.695,62.55), (2.74,58.62,3.04,65.875), (1.33,65.085,1.63,65.425), (2.105,65.91,2.405,68.575), (0.15,66.06,0.48,66.585), (0.15,66.585,1.75,66.885), (1.45,66.885,1.75,76.235), (0.155,67.91,1.12,68.21), (0.82,68.21,1.12,76.235)])
R(dac_3v_column_odd, met4, [(-0.09,7.8,2.3,8.1), (5.015,8.965,5.245,9.265), (-0.09,9.61,0.14,9.91), (5.015,10.255,5.245,10.555), (-0.09,10.9,0.14,11.2), (5.015,12.235,5.245,12.535), (-0.09,12.88,0.14,13.18), (5.015,13.525,5.245,13.825), (-0.09,14.17,0.14,14.47), (5.015,16.5,5.245,16.8), (-0.09,17.145,0.14,17.445), (5.015,17.79,5.245,18.09), (-0.09,18.435,0.14,18.735), (5.015,19.77,5.245,20.07), (-0.09,20.415,0.14,20.715), (5.015,21.06,5.245,21.36), (-0.09,21.705,0.14,22.005), (5.015,24.035,5.245,24.335), (-0.09,24.68,0.14,24.98), (5.015,25.325,5.245,25.625), (-0.09,25.97,0.14,26.27), (5.015,27.305,5.245,27.605), (-0.09,27.95,0.14,28.25), (5.015,28.595,5.245,28.895), (-0.09,29.24,0.14,29.54), (5.015,31.57,5.245,31.87), (-0.09,32.215,0.14,32.515), (5.015,32.86,5.245,33.16), (-0.09,33.505,0.14,33.805), (5.015,34.84,5.245,35.14), (-0.09,35.485,0.14,35.785), (5.015,36.13,5.245,36.43), (-0.09,36.775,0.14,37.075), (5.015,39.105,5.245,39.405), (-0.09,39.75,0.14,40.05), (5.015,40.395,5.245,40.695), (-0.09,41.04,0.14,41.34), (5.015,42.375,5.245,42.675), (-0.09,43.02,0.14,43.32), (5.015,43.665,5.245,43.965), (-0.09,44.31,0.14,44.61), (5.015,46.64,5.245,46.94), (-0.09,47.285,0.14,47.585), (5.015,47.93,5.245,48.23), (-0.09,48.575,0.14,48.875), (5.015,49.91,5.245,50.21), (-0.09,50.555,0.14,50.855), (5.015,51.2,5.245,51.5), (-0.09,51.845,0.14,52.145), (5.015,54.175,5.245,54.475), (-0.09,54.82,0.14,55.12), (5.015,55.465,5.245,55.765), (-0.09,56.11,0.14,56.41), (5.015,57.445,5.245,57.745), (-0.09,58.09,0.14,58.39), (5.015,58.735,5.245,59.035), (-0.09,59.38,0.14,59.68), (5.015,61.71,5.245,62.01), (-0.09,62.355,0.14,62.655), (5.015,63,5.245,63.3), (-0.09,63.645,0.14,63.945), (0.875,64.35,1.23,64.65), (5.015,64.98,5.245,65.28), (5.015,66.27,5.245,66.57)])
dac_3v_column_odd.add(gdstk.Reference(m3m4contact, (3.585,-29.53)))
dac_3v_column_odd.add(gdstk.Reference(dac_3v_cell_odd, (-0.585,8.875)))
dac_3v_column_odd.add(gdstk.Reference(dac_3v_cell, (-0.585,1.34)))
dac_3v_column_odd.add(gdstk.Reference(m2m3contact, (1.985,5.7)))
dac_3v_column_odd.add(gdstk.Reference(m2m3contact, (0.065,8.875)))
dac_3v_column_odd.add(gdstk.Reference(m2m3contact, (1.335,14.495), x_reflection=True))
dac_3v_column_odd.add(gdstk.Reference(m2m3contact, (1.325,8.875)))
dac_3v_column_odd.add(gdstk.Reference(m2m3contact, (0.695,8.875)))
dac_3v_column_odd.add(gdstk.Reference(m2m3contact, (0.695,5.7)))
dac_3v_column_odd.add(gdstk.Reference(m2m3contact, (5.74,20.185), rotation=pi, x_reflection=True))
dac_3v_column_odd.add(gdstk.Reference(m2m3contact, (-0.605,16.91)))
dac_3v_column_odd.add(gdstk.Reference(m2m3contact, (0.065,16.41)))
dac_3v_column_odd.add(gdstk.Reference(m2m3contact, (2.62,13.235)))
dac_3v_column_odd.add(gdstk.Reference(m2m3contact, (1.995,20.77)))
dac_3v_column_odd.add(gdstk.Reference(m2m3contact, (1.325,22.03), x_reflection=True))
dac_3v_column_odd.add(gdstk.Reference(m2m3contact, (1.325,25.2), x_reflection=True))
dac_3v_column_odd.add(gdstk.Reference(m2m3contact, (0.695,20.77)))
dac_3v_column_odd.add(gdstk.Reference(m2m3contact, (0.695,22.025), x_reflection=True))
dac_3v_column_odd.add(gdstk.Reference(m2m3contact, (0.065,32.735), x_reflection=True))
dac_3v_column_odd.add(gdstk.Reference(m2m3contact, (1.98,37.095), x_reflection=True))
dac_3v_column_odd.add(gdstk.Reference(m2m3contact, (0.07,24.655)))
dac_3v_column_odd.add(gdstk.Reference(m2m3contact, (0.07,37.735), x_reflection=True))
dac_3v_column_odd.add(gdstk.Reference(m2m3contact, (0.695,23.945)))
dac_3v_column_odd.add(gdstk.Reference(m2m3contact, (0.695,37.095), x_reflection=True))
dac_3v_column_odd.add(gdstk.Reference(m2m3contact, (0.07,39.765), x_reflection=True))
dac_3v_column_odd.add(gdstk.Reference(m2m3contact, (0.695,31.48)))
dac_3v_column_odd.add(gdstk.Reference(m2m3contact, (-0.605,40.27), x_reflection=True))
dac_3v_column_odd.add(gdstk.Reference(m2m3contact, (1.35,44.635), x_reflection=True))
dac_3v_column_odd.add(gdstk.Reference(m2m3contact, (5.74,35.84), rotation=pi, x_reflection=True))
dac_3v_column_odd.add(gdstk.Reference(m2m3contact, (0.065,39.015)))
dac_3v_column_odd.add(gdstk.Reference(m2m3contact, (1.325,39.015)))
dac_3v_column_odd.add(gdstk.Reference(m2m3contact, (0.695,39.015)))
dac_3v_column_odd.add(gdstk.Reference(m2m3contact, (0.695,35.84)))
dac_3v_column_odd.add(gdstk.Reference(m2m3contact, (5.74,59.195), rotation=pi))
dac_3v_column_odd.add(gdstk.Reference(m2m3contact, (-0.605,55.92), x_reflection=True))
dac_3v_column_odd.add(gdstk.Reference(m2m3contact, (0.08,46.55)))
dac_3v_column_odd.add(gdstk.Reference(m2m3contact, (1.98,43.375)))
dac_3v_column_odd.add(gdstk.Reference(m2m3contact, (1.325,55.34), x_reflection=True))
dac_3v_column_odd.add(gdstk.Reference(m2m3contact, (1.325,52.17), x_reflection=True))
dac_3v_column_odd.add(gdstk.Reference(m2m3contact, (0.695,52.165), x_reflection=True))
dac_3v_column_odd.add(gdstk.Reference(m2m3contact, (0.065,62.875), x_reflection=True))
dac_3v_column_odd.add(gdstk.Reference(m2m3contact, (1.995,50.91)))
dac_3v_column_odd.add(gdstk.Reference(m2m3contact, (1.98,67.235), x_reflection=True))
dac_3v_column_odd.add(gdstk.Reference(m2m3contact, (1.325,54.085)))
dac_3v_column_odd.add(gdstk.Reference(m2m3contact, (1.325,67.24), x_reflection=True))
dac_3v_column_odd.add(gdstk.Reference(m2m3contact, (0.695,54.085)))
dac_3v_column_odd.add(gdstk.Reference(m2m3contact, (0.695,67.235), x_reflection=True))
dac_3v_column_odd.add(gdstk.Reference(m2m3contact, (0.695,50.91)))
dac_3v_column_odd.add(gdstk.Reference(dac_3v_cell_top, (-0.585,61.62)))
dac_3v_column_odd.add(gdstk.Reference(m3m4contact, (2.165,27.02)))
dac_3v_column_odd.add(gdstk.Reference(m2m3contact, (-0.085,70.41), x_reflection=True))
dac_3v_column_odd.add(gdstk.Reference(m2m3contact, (0.69,61.62)))
dac_3v_column_odd.add(gdstk.Reference(m2m3contact, (1.325,70.41), x_reflection=True))
dac_3v_column_odd.add(gdstk.Reference(dac_3v_cell, (-0.585,69.155)))
r = gdstk.Reference(dac_3v_cell, (-0.585,16.41)); r.repetition = gdstk.Repetition(1, 6, v1=(5.335,0), v2=(0,7.535)); dac_3v_column_odd.add(r)
dac_3v_column_odd.add(gdstk.Label('b0', (5.12,66.395), layer=71, texttype=5))
dac_3v_column_odd.add(gdstk.Label('b0b', (5.1,65.125), layer=71, texttype=5))
dac_3v_column_odd.add(gdstk.Label('b0b', (5.1,58.88), layer=71, texttype=5))
dac_3v_column_odd.add(gdstk.Label('b0', (5.095,57.6), layer=71, texttype=5))
dac_3v_column_odd.add(gdstk.Label('b1b', (0.035,58.215), layer=71, texttype=5))
dac_3v_column_odd.add(gdstk.Label('b1', (0.025,59.52), layer=71, texttype=5))
dac_3v_column_odd.add(gdstk.Label('b0b', (5.1,50.05), layer=71, texttype=5))
dac_3v_column_odd.add(gdstk.Label('b2b', (0.04,50.705), layer=71, texttype=5))
dac_3v_column_odd.add(gdstk.Label('b2', (0.01,51.985), layer=71, texttype=5))
dac_3v_column_odd.add(gdstk.Label('b0', (5.085,51.35), layer=71, texttype=5))
dac_3v_column_odd.add(gdstk.Label('b0b', (5.085,43.82), layer=71, texttype=5))
dac_3v_column_odd.add(gdstk.Label('b0', (5.085,42.52), layer=71, texttype=5))
dac_3v_column_odd.add(gdstk.Label('b1', (0.025,43.17), layer=71, texttype=5))
dac_3v_column_odd.add(gdstk.Label('b1b', (0.025,44.455), layer=71, texttype=5))
dac_3v_column_odd.add(gdstk.Label('b0', (5.08,36.26), layer=71, texttype=5))
dac_3v_column_odd.add(gdstk.Label('b0b', (5.085,34.975), layer=71, texttype=5))
dac_3v_column_odd.add(gdstk.Label('b3', (0.035,35.63), layer=71, texttype=5))
dac_3v_column_odd.add(gdstk.Label('b3b', (0.01,36.915), layer=71, texttype=5))
dac_3v_column_odd.add(gdstk.Label('b0b', (5.075,28.745), layer=71, texttype=5))
dac_3v_column_odd.add(gdstk.Label('b0', (5.075,27.44), layer=71, texttype=5))
dac_3v_column_odd.add(gdstk.Label('b1b', (0.02,28.095), layer=71, texttype=5))
dac_3v_column_odd.add(gdstk.Label('b1', (0.025,29.385), layer=71, texttype=5))
dac_3v_column_odd.add(gdstk.Label('b0', (5.095,21.22), layer=71, texttype=5))
dac_3v_column_odd.add(gdstk.Label('b0b', (5.105,19.92), layer=71, texttype=5))
dac_3v_column_odd.add(gdstk.Label('b2', (0.025,20.565), layer=71, texttype=5))
dac_3v_column_odd.add(gdstk.Label('b2b', (0.045,21.845), layer=71, texttype=5))
dac_3v_column_odd.add(gdstk.Label('b0b', (5.105,13.665), layer=71, texttype=5))
dac_3v_column_odd.add(gdstk.Label('b0', (5.065,12.38), layer=71, texttype=5))
dac_3v_column_odd.add(gdstk.Label('b1', (0.02,13.035), layer=71, texttype=5))
dac_3v_column_odd.add(gdstk.Label('b1b', (0.02,14.315), layer=71, texttype=5))
dac_3v_column_odd.add(gdstk.Label('b0b', (0.035,62.51), layer=71, texttype=5))
dac_3v_column_odd.add(gdstk.Label('b0', (0.01,63.775), layer=71, texttype=5))
dac_3v_column_odd.add(gdstk.Label('b1', (5.09,63.145), layer=71, texttype=5))
dac_3v_column_odd.add(gdstk.Label('b1b', (5.105,61.84), layer=71, texttype=5))
dac_3v_column_odd.add(gdstk.Label('b0', (0.025,54.97), layer=71, texttype=5))
dac_3v_column_odd.add(gdstk.Label('b0b', (0.025,56.26), layer=71, texttype=5))
dac_3v_column_odd.add(gdstk.Label('b2', (5.075,55.615), layer=71, texttype=5))
dac_3v_column_odd.add(gdstk.Label('b2b', (5.09,54.31), layer=71, texttype=5))
dac_3v_column_odd.add(gdstk.Label('b0b', (0.02,47.43), layer=71, texttype=5))
dac_3v_column_odd.add(gdstk.Label('b0', (0.04,48.7), layer=71, texttype=5))
dac_3v_column_odd.add(gdstk.Label('b1b', (5.115,48.08), layer=71, texttype=5))
dac_3v_column_odd.add(gdstk.Label('b1', (5.105,46.78), layer=71, texttype=5))
dac_3v_column_odd.add(gdstk.Label('b0', (0.035,39.88), layer=71, texttype=5))
dac_3v_column_odd.add(gdstk.Label('b0b', (0.025,41.205), layer=71, texttype=5))
dac_3v_column_odd.add(gdstk.Label('b3b', (5.085,40.545), layer=71, texttype=5))
dac_3v_column_odd.add(gdstk.Label('b3', (5.095,39.25), layer=71, texttype=5))
dac_3v_column_odd.add(gdstk.Label('b0b', (0.025,32.375), layer=71, texttype=5))
dac_3v_column_odd.add(gdstk.Label('b0', (0.035,33.64), layer=71, texttype=5))
dac_3v_column_odd.add(gdstk.Label('b1', (5.095,33), layer=71, texttype=5))
dac_3v_column_odd.add(gdstk.Label('b1b', (5.11,31.715), layer=71, texttype=5))
dac_3v_column_odd.add(gdstk.Label('b0', (0.02,24.815), layer=71, texttype=5))
dac_3v_column_odd.add(gdstk.Label('b0b', (0.03,26.11), layer=71, texttype=5))
dac_3v_column_odd.add(gdstk.Label('b2b', (5.09,25.47), layer=71, texttype=5))
dac_3v_column_odd.add(gdstk.Label('b2', (5.085,24.19), layer=71, texttype=5))
dac_3v_column_odd.add(gdstk.Label('b0b', (0.025,17.285), layer=71, texttype=5))
dac_3v_column_odd.add(gdstk.Label('b0', (0.005,18.565), layer=71, texttype=5))
dac_3v_column_odd.add(gdstk.Label('b1b', (5.09,17.94), layer=71, texttype=5))
dac_3v_column_odd.add(gdstk.Label('b1', (5.095,16.62), layer=71, texttype=5))
dac_3v_column_odd.add(gdstk.Label('b0', (0.01,9.755), layer=71, texttype=5))
dac_3v_column_odd.add(gdstk.Label('b0b', (0.02,11.04), layer=71, texttype=5))
dac_3v_column_odd.add(gdstk.Label('b4b', (5.08,10.4), layer=71, texttype=5))
dac_3v_column_odd.add(gdstk.Label('b4', (5.09,9.11), layer=71, texttype=5))
dac_3v_column_odd.add(gdstk.Label('res_in0', (0.665,8.725), layer=68, texttype=5))
dac_3v_column_odd.add(gdstk.Label('dum_in0', (0.67,1.18), layer=68, texttype=5))
dac_3v_column_odd.add(gdstk.Label('res_out0', (0.67,69), layer=68, texttype=5))
dac_3v_column_odd.add(gdstk.Label('dum_out0', (0.71,75.685), layer=68, texttype=5))
dac_3v_column_odd.add(gdstk.Label('dum_in1', (3.905,75.715), layer=68, texttype=5))
dac_3v_column_odd.add(gdstk.Label('res_in1', (4.46,67.605), layer=68, texttype=5))
dac_3v_column_odd.add(gdstk.Label('dum_out1', (4.815,0.36), layer=68, texttype=5))
dac_3v_column_odd.add(gdstk.Label('res_out1', (4.46,7.165), layer=68, texttype=5))
dac_3v_column_odd.add(gdstk.Label('out0_1_0', (1.6,15.475), layer=70, texttype=5))
dac_3v_column_odd.add(gdstk.Label('out0_0_1', (2.225,26.81), layer=70, texttype=5))
dac_3v_column_odd.add(gdstk.Label('out0_0_2', (2.25,41.92), layer=70, texttype=5))
dac_3v_column_odd.add(gdstk.Label('out0_0_3', (2.25,57.06), layer=70, texttype=5))
dac_3v_column_odd.add(gdstk.Label('out0_0_0', (2.26,11.64), layer=70, texttype=5))
dac_3v_column_odd.add(gdstk.Label('out1_0_0', (2.895,64.39), layer=70, texttype=5))
dac_3v_column_odd.add(gdstk.Label('out1_0_1', (2.895,49.355), layer=70, texttype=5))
dac_3v_column_odd.add(gdstk.Label('out1_0_2', (1.57,34.475), layer=70, texttype=5))
dac_3v_column_odd.add(gdstk.Label('out_3', (2.885,37.39), layer=70, texttype=5))
dac_3v_column_odd.add(gdstk.Label('out1_0_3', (2.88,15.81), layer=70, texttype=5))
dac_3v_column_odd.add(gdstk.Label('out4', (2.875,8.365), layer=70, texttype=5))
dac_3v_column_odd.add(gdstk.Label('out1_1_1', (4.15,19.27), layer=70, texttype=5))
dac_3v_column_odd.add(gdstk.Label('out1_1_0', (3.54,60.7), layer=70, texttype=5))
dac_3v_column_odd.add(gdstk.Label('out0_2', (0.935,23.22), layer=70, texttype=5))
dac_3v_column_odd.add(gdstk.Label('out1_2', (4.15,49.335), layer=70, texttype=5))
dac_3v_column_odd.add(gdstk.Label('out_5', (1.04,64.495), layer=71, texttype=5))
dac_3v_column_odd.add(gdstk.Label('in_5', (2.24,68.245), layer=70, texttype=5))

lib.write_gds('dac_3v_column_odd.gds')
